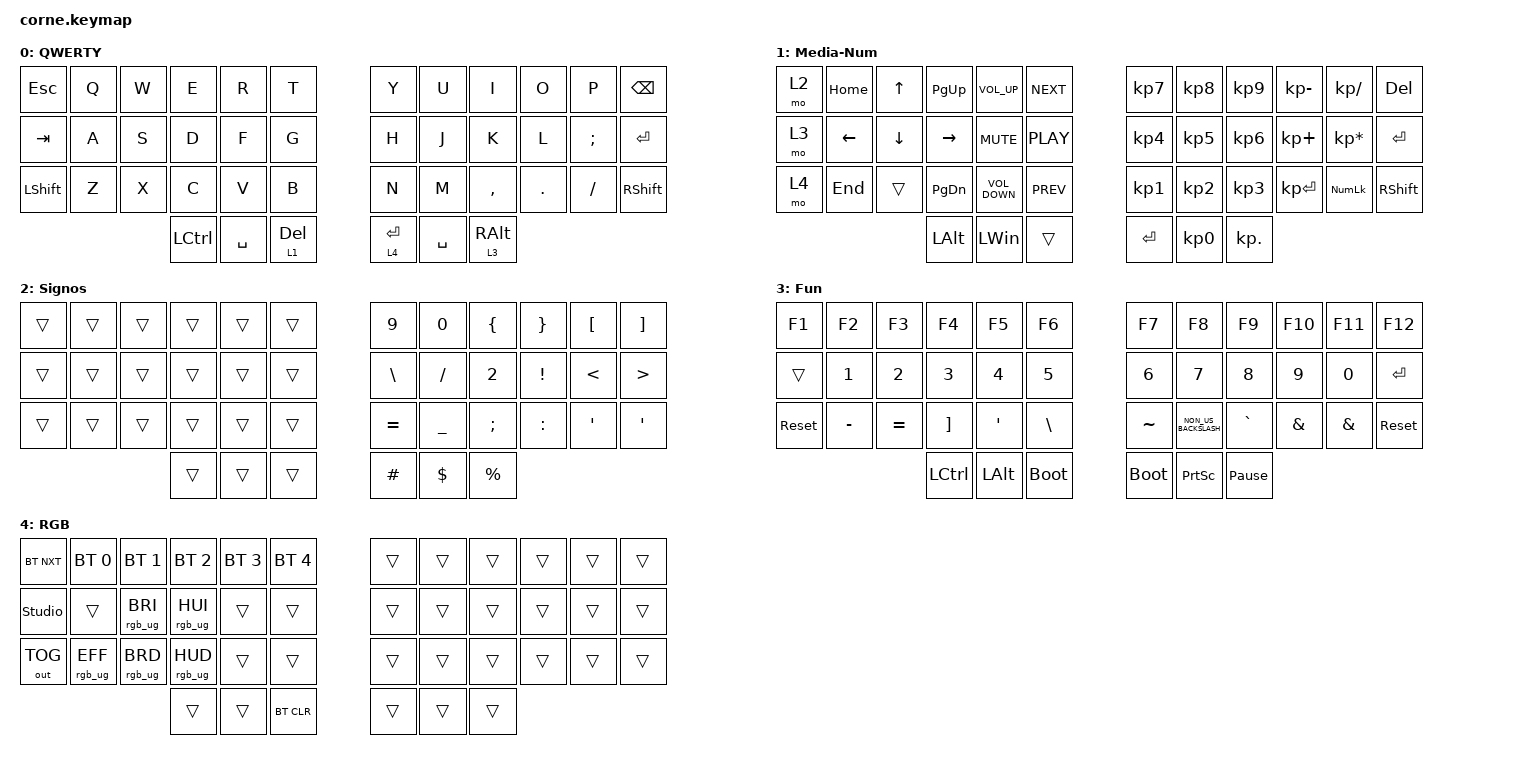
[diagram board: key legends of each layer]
/*
 * Copyright (c) 2020 The ZMK Contributors
 *
 * SPDX-License-Identifier: MIT
 */

#include <behaviors.dtsi>
#include <dt-bindings/zmk/keys.h>
#include <dt-bindings/zmk/bt.h>
#include <dt-bindings/zmk/outputs.h>
#include <dt-bindings/zmk/behaviors.h>
#include <dt-bindings/zmk/backlight.h>
#include <dt-bindings/zmk/rgb.h>



// Short versions 

#define RGBON   &rgb_ug RGB_ON
#define RGBOFF  &rgb_ug RGB_OFF
#define RGBTOG  &rgb_ug RGB_TOG
#define RGBHUI  &rgb_ug RGB_HUI
#define RGBHUD  &rgb_ug RGB_HUD
#define RGBSAI  &rgb_ug RGB_SAI
#define RGBSAD  &rgb_ug RGB_SAD
#define RGBBRI  &rgb_ug RGB_BRI
#define RGBBRD  &rgb_ug RGB_BRD
#define RGBEFF  &rgb_ug RGB_EFF

&lt {
    tapping-term-ms = <200>; // This is the value already set by default
};


//numero de leds inferiores
&led_strip {
    chain-length = <27>;
};





/ {
    behaviors {
        lt: layer_tap {
            compatible = "zmk,behavior-hold-tap";
            #binding-cells = <2>;
            flavor = "tap-preferred";
            tapping-term-ms = <200>;
            bindings = <&mo>, <&kp>;
            display-name = "Layer-Tap";
        };
    };
};


/ {
        keymap {
                compatible = "zmk,keymap";

                QWERTY_layer {
            // -----------------------------------------------------------------------------------------
            // | ESCAPE |  Q  |  W  |  E  |  R  |  T       |          |  Y    |  U   |  I       |  O  |  P  |BKSP  |
            // | TAB    |  A  |  S  |  D  |  F  |  G       |          |  H    |  J   |  K       |  L  |  ;  | ENT  |
            // | LSHFT  |  Z  |  X  |  C  |  V  |  B       |          |  N    |  M   |  ,       |  .  |  /  |RSHFT |
            //                      | CTL | SPC | mo 1 del |          | ENTER | SPC  | mo 3 Alt |
                        display-name = "QWERTY";
                        bindings = <
&kp ESCAPE  &kp Q  &kp W  &kp E              &kp R         &kp T        &kp Y        &kp U      &kp I      &kp O    &kp P     &kp BACKSPACE
&kp TAB     &kp A  &kp S  &kp D              &kp F         &kp G        &kp H        &kp J      &kp K      &kp L    &kp SEMI  &kp ENTER
&kp LSHFT   &kp Z  &kp X  &kp C              &kp V         &kp B        &kp N        &kp M      &kp COMMA  &kp DOT  &kp FSLH  &kp RIGHT_SHIFT
                          &kp LEFT_CONTROL   &kp SPACE     &lt 1 DEL    &lt 4 ENTER  &kp SPACE  &lt 3 RIGHT_ALT 
                        >;
                };
                Media-Num_layer {
            // -----------------------------------------------------------------------------------------
            // | mo 2 | HOME | UP   | PAGE_UP   | VOLUME_UP     | NEXT|          | N7  | N8  | N9  |  -  |  /  |DELETE   |
            // | mo 3 | LEFT | DOWN | RIGHT     | MUTE          | PLAY|          | N4  | N5  | N6  |  +  |  *  | ENT     |
            // | mo 4 | END  | END  | PAGE_DOWN | VOLUME_DOWN   | PREV|          | N1  | N2  | N3  | INT | NLK |RSHFT    |
            //                      | ALT       | WIN           |     |          | ENT | N0  | .   |
                        display-name = "Media-Num";
                        bindings = <
&mo 2   &kp HOME        &kp UP_ARROW    &kp PAGE_UP       &kp C_VOLUME_UP    &kp C_NEXT          &kp KP_NUMBER_7  &kp KP_NUMBER_8  &kp KP_NUMBER_9  &kp KP_SUBTRACT  &kp KP_DIVIDE    &kp DELETE
&mo 3   &kp LEFT_ARROW  &kp DOWN_ARROW  &kp RIGHT_ARROW   &kp C_MUTE         &kp C_PLAY          &kp KP_NUMBER_4  &kp KP_NUMBER_5  &kp KP_NUMBER_6  &kp KP_PLUS      &kp KP_MULTIPLY  &kp ENTER
&mo 4   &kp END         &trans          &kp PAGE_DOWN     &kp C_VOLUME_DOWN  &kp C_PREV          &kp KP_NUMBER_1  &kp KP_NUMBER_2  &kp KP_NUMBER_3  &kp KP_ENTER     &kp KP_NUMLOCK   &kp RIGHT_SHIFT
                                        &kp LEFT_ALT      &kp LEFT_WIN       &trans              &kp ENTER        &kp KP_NUMBER_0  &kp KP_DOT
                        >;
                };

                Signos_layer {
            // -----------------------------------------------------------------------------------------
            // |    |    |    |    |    |    |         |  (   |   )  |  {  |  }  |  [   |  ]  |
            // |    |    |    |    |    |    |         |  \,| |  /,? |  @  |  !  |  <   |  >  |
            // |    |    |    |    |    |    |         |  =   |  _   |  ;  |  :  |  '   |  "  |
            //           |    |    |    |    |         |   #  |   $  |  %  |
                        display-name = "Signos";
                        bindings = <
&trans  &trans  &trans  &trans  &trans  &trans       &kp N9      &kp N0         &kp LBRC        &kp RBRC         &kp LEFT_BRACKET  &kp RIGHT_BRACKET
&trans  &trans  &trans  &trans  &trans  &trans       &kp BSLH    &kp SLASH      &kp N2          &kp EXCLAMATION  &kp LESS_THAN     &kp GREATER_THAN
&trans  &trans  &trans  &trans  &trans  &trans       &kp EQUAL   &kp UNDERSCORE &kp SEMICOLON   &kp COLON        &kp APOSTROPHE    &kp SINGLE_QUOTE
                        &trans  &trans  &trans       &kp HASH    &kp DOLLAR     &kp PERCENT
                        >;
                };

        Fun_layer {
            // -----------------------------------------------------------------------------------------
            // | F1  | F2  | F3  | F4  | F5  | F6   |          | F7   | F8  | F9  | F10 | F11 | F12 |
            // |     |  1  |  2  |  3  |  4  |  5   |          |  6   |  7  |  8  |  9  |  0  | ENT |
            // |reset|  |  |  '  |  ¿  |  +  |  {   |          |  }   |PLAY |NEXT |VOLUP|VOLDN|reset|
            //                   | CTL | Alt | boot |          | boot |PRSC |PAUSE|
                        display-name = "Fun";
                        bindings = <
&kp F1          &kp F2        &kp F3        &kp F4             &kp F5          &kp F6               &kp F7        &kp F8                &kp F9          &kp F10        &kp F11        &kp F12
&trans          &kp NUMBER_1  &kp NUMBER_2  &kp NUMBER_3       &kp NUMBER_4    &kp NUMBER_5         &kp NUMBER_6  &kp NUMBER_7          &kp NUMBER_8    &kp NUMBER_9   &kp NUMBER_0   &kp ENTER
&sys_reset      &kp MINUS     &kp EQUAL     &kp RIGHT_BRACKET  &kp APOSTROPHE  &kp BACKSLASH        &kp TILDE     &kp NON_US_BACKSLASH  &kp GRAVE       &kp AMPERSAND  &kp AMPERSAND  &sys_reset
                                            &kp LEFT_CONTROL   &kp LEFT_ALT    &bootloader          &bootloader   &kp PRINTSCREEN       &kp PAUSE_BREAK
                        >;
        
                };

        RGB_layer  {
            // -----------------------------------------------------------------------------------------
            // | BT NXT | BT0     | BT1       | BT2      | BT3     | BT4          |          |     |     |     |     |     |     |
            // |Clear BT| RGB_OFF |  RGB_BRI  | RGB_HUI  |         | Clear BT     |          |     |     |     |     |     |     |
            // | Switch | RGB_EFF |  RGB_BRD  | RGB_HUD  | OUT_USB | OUT_BLE      |          |     |     |     |     |     |     |
            //                                |          |         | &bt BT_CLR   |          |     |     |
                        display-name = "RGB";
                        bindings = <
&bt BT_NXT      &bt BT_SEL 0      &bt BT_SEL 1      &bt BT_SEL 2      &bt BT_SEL 3  &bt BT_SEL 4            &trans         &trans          &trans         &trans         &trans         &trans
&studio_unlock  &trans            &rgb_ug RGB_BRI   &rgb_ug RGB_HUI   &trans        &trans                  &trans         &trans          &trans         &trans         &trans         &trans
&out OUT_TOG    &rgb_ug RGB_EFF   &rgb_ug RGB_BRD   &rgb_ug RGB_HUD   &trans        &trans                  &trans         &trans          &trans         &trans         &trans         &trans
                                                    &trans            &trans        &bt BT_CLR              &trans         &trans          &trans
                        >;
  
                };

                extra_3 {
                        status = "reserved";
                };
        };
};
